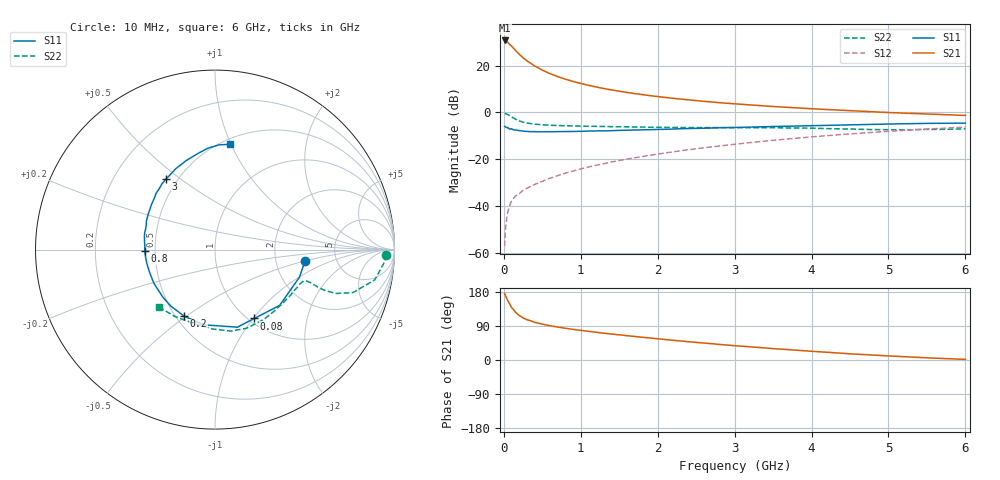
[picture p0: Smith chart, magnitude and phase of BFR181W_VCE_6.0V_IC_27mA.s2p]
! (c) 2017  Infineon Technologies AG, Munich
! Infineon Technologies  Discrete & RF Semiconductors
! BFR181W
! VCE =  6.0 V,  IC =  27 mA
! Common Emitter S-Parameters:  Jan 2017
# GHz  S  MA  R  50
!  f  S11  S21  S12  S22
! GHz  MAG  ANG  MAG  ANG  MAG  ANG  MAG  ANG
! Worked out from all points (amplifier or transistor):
!   77 points, 10 MHz to 6 GHz, reference 50 ohm
!   highest |S21| = 30.7 dB at 10 MHz (marker M1)
!   |S21| within 3 dB of that: start of sweep to 116.9 MHz
!   unconditionally stable (mu >= 1): 452 MHz to 2.42 GHz
!   at 130 MHz: K = 0.51, MSG = 31.9 dB, |S12| = -36.5 dB
!   at 2.2 GHz: K = 1.04, MAG = 10.3 dB, |S12| = -16.8 dB
!   at 6 GHz: K = 0.85, MSG = 2.5 dB, |S12| = -6.2 dB
!   S11 on the Smith chart (normalised r, x): 10 MHz: 2.94, -0.51; 80 MHz: 1.06, -1.01; 200 MHz: 0.55, -0.49; 800 MHz: 0.44, -0.01; 3 GHz: 0.43, +0.44; 6 GHz: 0.55, +0.99
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0.01  0.5051 -7.4  34.33 175.4  0.0014 72.1  0.9525 -1.7
0.02  0.495 -18.1  33.75 170.1  0.003 85.8  0.9478 -4.0
0.05  0.4759 -40.8  31.47 156.8  0.0074 77.0  0.9061 -10.7
0.08  0.4418 -60.3  27.88 146.7  0.0107 72.1  0.8439 -14.5
0.1  0.4498 -73.9  26.07 138.5  0.0129 70.2  0.8048 -17.3
0.15  0.4236 -98.3  21.19 126.3  0.0163 64.1  0.7187 -19.9
0.2  0.4088 -114.8  17.41 117.4  0.0185 62.4  0.6598 -20.4
0.25  0.3996 -127.8  14.68 111.1  0.0218 62.1  0.6208 -20.2
0.3  0.3934 -137.5  12.59 106.4  0.024 63.5  0.5933 -19.7
0.4  0.3889 -151.0  9.812 99.5  0.029 66.6  0.5615 -19.1
0.5  0.386 -160.3  7.972 94.5  0.0339 68.3  0.5445 -18.9
0.6  0.3872 -167.7  6.727 90.4  0.0394 70.7  0.5331 -19.0
0.7  0.3891 -173.6  5.811 86.9  0.0449 73.1  0.5253 -19.4
0.8  0.3913 -178.6  5.125 83.7  0.0507 74.4  0.52 -20.2
1.1  0.4004 169.3  3.789 75.7  0.0685 76.4  0.5077 -23.3
1.5  0.4143 157.2  2.832 66.4  0.0941 77.3  0.4942 -28.9
2.1  0.4374 142.5  2.089 54.0  0.1367 76.5  0.4798 -39.7
3  0.478 124.9  1.525 37.7  0.2092 71.9  0.4724 -58.4
3.1  0.4816 123.0  1.486 36.3  0.2181 71.1  0.4712 -60.4
4.1  0.5253 106.2  1.176 21.7  0.3096 62.4  0.4566 -81.5
5.1  0.5692 92.8  0.981 9.8  0.4039 51.8  0.4272 -108.9
6  0.5923 82.1  0.863 1.6  0.4872 41.3  0.4464 -134.2
